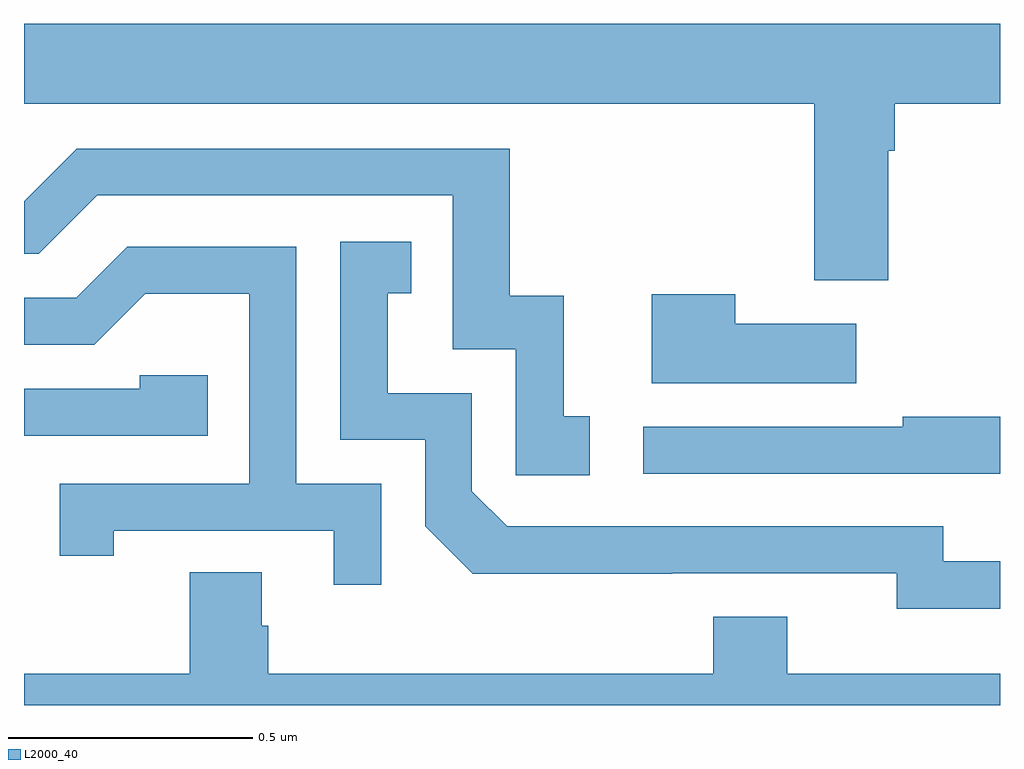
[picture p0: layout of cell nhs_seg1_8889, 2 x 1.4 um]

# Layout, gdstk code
import gdstk
lib = gdstk.Library(unit=1e-6, precision=1e-09)
def P(c, l, *ps):  # polygons
    for p in ps: c.add(gdstk.Polygon(p, *l))
L2000_40 = (2000, 40)

nhs_seg1_8889 = lib.new_cell('nhs_seg1_8889')
P(nhs_seg1_8889, L2000_40, [(223.771,518.336),(223.784,518.336),(223.784,518.432),(224,518.432),(224,518.596),(222,518.596),(222,518.432),(223.619,518.432),(223.619,518.07),(223.771,518.07)],
  [(223.159,517.791),(223.106,517.791),(223.106,518.038),(222.995,518.038),(222.995,518.34),(222.108,518.34),(222,518.232),(222,518.124),(222.03,518.124),(222.15,518.244),(222.879,518.244),(222.879,517.929),(223.008,517.929),(223.008,517.671),(223.159,517.671)],
  [(224,517.494),(223.884,517.494),(223.884,517.566),(222.99,517.566),(222.918,517.638),(222.918,517.839),(222.745,517.839),(222.745,518.043),(222.794,518.043),(222.794,518.149),(222.648,518.149),(222.648,517.743),(222.822,517.743),(222.822,517.566),(222.92,517.469),(223.328,517.469),(223.328,517.47),(223.788,517.47),(223.788,517.397),(224,517.397)],
  [(222.732,517.653),(222.558,517.653),(222.558,518.139),(222.212,518.139),(222.107,518.034),(222,518.034),(222,517.938),(222.144,517.938),(222.248,518.042),(222.462,518.042),(222.462,517.653),(222.073,517.653),(222.073,517.506),(222.184,517.506),(222.184,517.557),(222.635,517.557),(222.635,517.446),(222.732,517.446)],
  [(223.705,517.981),(223.457,517.981),(223.457,518.041),(223.286,518.041),(223.286,517.859),(223.705,517.859)],
  [(222.377,517.875),(222.237,517.875),(222.237,517.848),(222,517.848),(222,517.752),(222.377,517.752)],
  [(224,517.79),(223.801,517.79),(223.801,517.77),(223.269,517.77),(223.269,517.674),(224,517.674)],
  [(224,517.264),(223.564,517.264),(223.564,517.381),(223.412,517.381),(223.412,517.264),(222.5,517.264),(222.5,517.362),(222.487,517.362),(222.487,517.472),(222.34,517.472),(222.34,517.264),(222,517.264),(222,517.199),(224,517.199)])

lib.write_gds('nhs_seg1_8889.gds')
